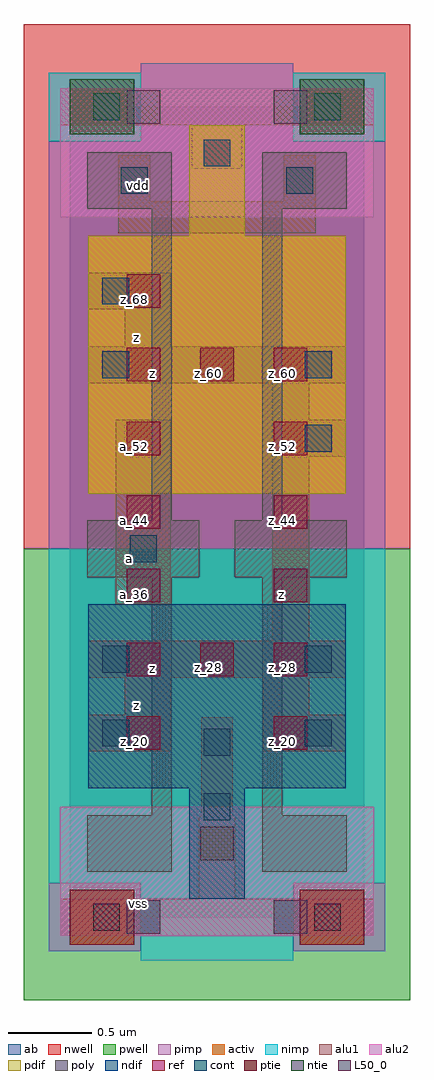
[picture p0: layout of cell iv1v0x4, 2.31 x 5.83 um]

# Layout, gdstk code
import gdstk
lib = gdstk.Library(unit=1e-6, precision=2.5e-09)
def R(c, l, rs):  # rectangles x0, y0, x1, y1
    for r in rs: c.add(gdstk.rectangle(r[:2], r[2:], *l))
def A(c, l, x, y, w, h, nx, ny, dx, dy):  # array of equal rectangles
    R(c, l, [(x+i*dx, y+j*dy, x+i*dx+w, y+j*dy+h) for i in range(nx) for j in range(ny)])
ndif = (3, 0)
pdif = (4, 0)
ntie = (5, 0)
ptie = (6, 0)
ref = (24, 0)
cont = (25, 0)
pwell = (41, 0)
nwell = (42, 0)
activ = (43, 0)
pimp = (44, 0)
nimp = (45, 0)
poly = (46, 0)
alu1 = (49, 0)
L50_0 = (50, 0)
alu2 = (51, 0)
ab = (63, 0)

iv1v0x4 = lib.new_cell('iv1v0x4')
R(iv1v0x4, ndif, [(0.715,0.11,1.045,0.77), (0.11,0.77,1.65,1.87)])
R(iv1v0x4, pdif, [(0.11,2.53,1.65,4.07), (0.715,4.07,1.045,4.73)])
R(iv1v0x4, ntie, [(0,4.675,0.385,5.005), (1.375,4.675,1.76,5.005)])
R(iv1v0x4, ptie, [(0,-0.165,0.385,0.165), (1.375,-0.165,1.76,0.165)])
A(iv1v0x4, ref, 0.34, 1.44, 0.2, 0.2, 3, 2, 0.44, 1.76)
A(iv1v0x4, ref, 0.34, 1.88, 0.2, 0.2, 1, 3, 0, 0.44)
A(iv1v0x4, ref, 1.22, 1.88, 0.2, 0.2, 1, 3, 0, 0.44)
R(iv1v0x4, ref, [(0.34,1,0.54,1.2), (1.22,1,1.42,1.2), (0.34,3.64,0.54,3.84)])
R(iv1v0x4, cont, [(0.14,-0.08,0.3,0.08), (1.46,-0.08,1.62,0.08), (0.8,0.58,0.96,0.74), (0.8,0.965,0.96,1.125), (0.195,1.02,0.355,1.18), (1.405,1.02,1.565,1.18), (0.195,1.46,0.355,1.62), (1.405,1.46,1.565,1.62), (0.36,2.12,0.52,2.28), (1.405,2.78,1.565,2.94), (0.195,3.22,0.355,3.38), (1.405,3.22,1.565,3.38), (0.195,3.66,0.355,3.82), (0.305,4.32,0.465,4.48), (1.295,4.32,1.455,4.48), (0.8,4.485,0.96,4.645), (0.14,4.76,0.3,4.92), (1.46,4.76,1.62,4.92)])
R(iv1v0x4, pwell, [(-0.275,-0.495,2.035,2.2)])
R(iv1v0x4, nwell, [(-0.275,2.2,2.035,5.335)])
R(iv1v0x4, activ, [(0,-0.165,0.385,0.165), (1.375,-0.165,1.76,0.165), (0.715,0.11,1.045,0.77), (0.11,0.77,1.65,1.87), (0.11,2.53,1.65,4.07), (0.715,4.07,1.045,4.73), (0,4.675,0.385,5.005), (1.375,4.675,1.76,5.005)])
R(iv1v0x4, pimp, [(-0.125,-0.205,0.425,0.205), (1.335,-0.205,1.885,0.205), (-0.125,2.2,1.885,4.635), (0.425,4.635,1.335,5.1)])
R(iv1v0x4, nimp, [(0.425,-0.26,1.335,0.205), (-0.125,0.205,1.885,2.2), (-0.125,4.635,0.425,5.045), (1.335,4.635,1.885,5.045)])
R(iv1v0x4, poly, [(0.105,0.27,0.61,0.61), (1.15,0.27,1.655,0.61), (0.49,0.61,0.61,2.03), (1.15,0.61,1.27,2.03), (0.105,2.03,0.775,2.37), (0.985,2.03,1.655,2.37), (0.49,2.37,0.61,4.23), (1.15,2.37,1.27,4.23), (0.105,4.23,0.61,4.57), (1.15,4.23,1.655,4.57)])
R(iv1v0x4, alu1, [(-0.055,-0.11,1.815,0.11), (0.77,0.11,0.99,0.605), (0.785,0.605,0.975,1.195), (0.11,0.99,0.605,1.21), (1.155,0.99,1.65,1.21), (0.33,1.21,0.605,1.43), (1.155,1.21,1.43,1.43), (0.11,1.43,1.65,1.65), (1.21,1.65,1.43,2.75), (0.275,1.87,0.605,2.97), (1.21,2.75,1.65,2.97), (1.21,2.97,1.43,3.19), (0.11,3.19,1.65,3.41), (0.33,3.41,0.605,3.63), (0.11,3.63,0.605,3.85), (0.29,4.085,1.47,4.275), (0.29,4.275,0.48,4.55), (1.28,4.275,1.47,4.55), (0.73,4.47,1.03,4.73), (-0.055,4.73,1.815,4.95)])
R(iv1v0x4, L50_0, [(0.34,-0.1,0.54,0.1), (1.22,-0.1,1.42,0.1), (0.78,0.34,0.98,0.54), (0.34,4.74,0.54,4.94), (1.22,4.74,1.42,4.94)])
R(iv1v0x4, alu2, [(-0.055,-0.11,1.815,0.66), (-0.055,4.18,1.815,4.95)])
R(iv1v0x4, ab, [(0,0,1.76,4.84)])
iv1v0x4.add(gdstk.Label('z', (0.3975,1.265), layer=49, texttype=0))
iv1v0x4.add(gdstk.Label('z', (0.495,1.485), layer=49, texttype=0))
iv1v0x4.add(gdstk.Label('z', (1.265,1.925), layer=49, texttype=0))
iv1v0x4.add(gdstk.Label('a', (0.3575,2.145), layer=49, texttype=0))
iv1v0x4.add(gdstk.Label('z', (0.495,3.245), layer=49, texttype=0))
iv1v0x4.add(gdstk.Label('z', (0.3975,3.465), layer=49, texttype=0))
iv1v0x4.add(gdstk.Label('vss', (0.4125,0.0825), layer=51, texttype=0))
iv1v0x4.add(gdstk.Label('vdd', (0.4125,4.3725), layer=51, texttype=0))
iv1v0x4.add(gdstk.Label('a_36', (0.39,1.93), layer=24, texttype=0))
iv1v0x4.add(gdstk.Label('a_44', (0.39,2.37), layer=24, texttype=0))
iv1v0x4.add(gdstk.Label('z_28', (0.83,1.49), layer=24, texttype=0))
iv1v0x4.add(gdstk.Label('a_52', (0.39,2.81), layer=24, texttype=0))
iv1v0x4.add(gdstk.Label('z_28', (1.27,1.49), layer=24, texttype=0))
iv1v0x4.add(gdstk.Label('z_28', (0.39,1.49), layer=24, texttype=0))
iv1v0x4.add(gdstk.Label('z_20', (1.27,1.05), layer=24, texttype=0))
iv1v0x4.add(gdstk.Label('z_36', (1.27,1.93), layer=24, texttype=0))
iv1v0x4.add(gdstk.Label('z_44', (1.27,2.37), layer=24, texttype=0))
iv1v0x4.add(gdstk.Label('z_52', (1.27,2.81), layer=24, texttype=0))
iv1v0x4.add(gdstk.Label('z_60', (1.27,3.25), layer=24, texttype=0))
iv1v0x4.add(gdstk.Label('z_20', (0.39,1.05), layer=24, texttype=0))
iv1v0x4.add(gdstk.Label('z_60', (0.39,3.25), layer=24, texttype=0))
iv1v0x4.add(gdstk.Label('z_68', (0.39,3.69), layer=24, texttype=0))
iv1v0x4.add(gdstk.Label('z_60', (0.83,3.25), layer=24, texttype=0))

lib.write_gds('iv1v0x4.gds')
